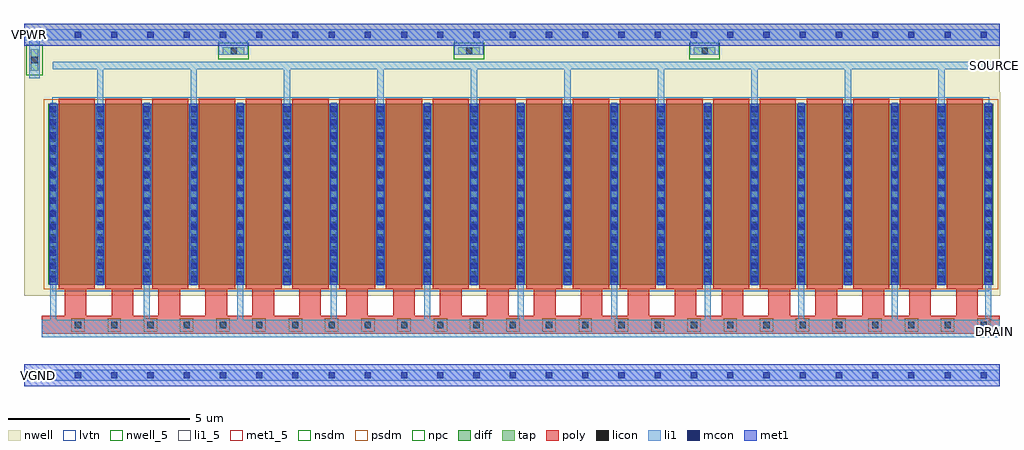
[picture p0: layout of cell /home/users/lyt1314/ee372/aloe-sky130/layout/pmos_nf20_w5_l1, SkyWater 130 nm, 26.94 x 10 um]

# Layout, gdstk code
import gdstk
lib = gdstk.Library(unit=1e-6, precision=1e-09)
def R(c, l, rs):  # rectangles x0, y0, x1, y1
    for r in rs: c.add(gdstk.rectangle(r[:2], r[2:], *l))
def A(c, l, x, y, w, h, nx, ny, dx, dy):  # array of equal rectangles
    R(c, l, [(x+i*dx, y+j*dy, x+i*dx+w, y+j*dy+h) for i in range(nx) for j in range(ny)])
nwell_5 = (64, 5)
nwell = (64, 20)
diff = (65, 20)
tap = (65, 44)
poly = (66, 20)
licon = (66, 44)
li1_5 = (67, 5)
li1 = (67, 20)
mcon = (67, 44)
met1_5 = (68, 5)
met1 = (68, 20)
nsdm = (93, 44)
psdm = (94, 20)
npc = (95, 20)
lvtn = (125, 44)

sky130_fd_pr__pfet_01v8_ = lib.new_cell('sky130_fd_pr__pfet_01v8_lvt_W76TCA')
R(sky130_fd_pr__pfet_01v8_, nwell, [(-13.225,-2.81,13.225,2.81)])
R(sky130_fd_pr__pfet_01v8_, diff, [(-13.045,-2.5,13.045,2.5)])
A(sky130_fd_pr__pfet_01v8_, poly, -12.755, -2.63, 1, 5.26, 20, 1, 1.29, 0)
A(sky130_fd_pr__pfet_01v8_, licon, -12.985, -2.295, 0.17, 0.17, 21, 14, 1.29, 0.34)
A(sky130_fd_pr__pfet_01v8_, li1, -12.985, -2.52, 0.17, 5.04, 21, 1, 1.29, 0)
A(sky130_fd_pr__pfet_01v8_, mcon, -12.985, -2.425, 0.17, 0.17, 21, 14, 1.29, 0.36)
A(sky130_fd_pr__pfet_01v8_, met1, -13.015, -2.5, 0.23, 5, 21, 1, 1.29, 0)
R(sky130_fd_pr__pfet_01v8_, psdm, [(-13.17,-2.625,13.17,2.625)])
R(sky130_fd_pr__pfet_01v8_, lvtn, [(-12.935,-2.68,12.935,2.68)])

c__home_users_lyt1314_ee37 = lib.new_cell('/home/users/lyt1314/ee372/aloe-sky130/layout/pmos_nf20_w5_l1')
R(c__home_users_lyt1314_ee37, nwell_5, [(-13.71,4.25,-13.41,4.55)])
R(c__home_users_lyt1314_ee37, nwell, [(-13.71,-2.81,13.22,4.7)])
A(c__home_users_lyt1314_ee37, tap, -8.23, 3.85, 0.6, 0.2, 3, 1, 6.5, 0)
R(c__home_users_lyt1314_ee37, tap, [(-13.52,3.4,-13.32,4)])
A(c__home_users_lyt1314_ee37, poly, -12.59, -3.36, 0.6, 0.85, 20, 1, 1.295, 0)
R(c__home_users_lyt1314_ee37, poly, [(-13.22,-3.86,13.22,-3.36)])
A(c__home_users_lyt1314_ee37, licon, -12.305, -3.695, 0.17, 0.17, 26, 1, 1, 0)
A(c__home_users_lyt1314_ee37, licon, -8.005, 3.865, 0.17, 0.17, 3, 1, 6.5, 0)
R(c__home_users_lyt1314_ee37, licon, [(-13.505,3.615,-13.335,3.785)])
R(c__home_users_lyt1314_ee37, li1_5, [(12.92,-3.95,13.22,-3.65), (12.92,-3.76,13.22,-3.46), (12.92,3.45,13.22,3.65)])
A(c__home_users_lyt1314_ee37, li1, -12.985, -3.46, 0.17, 1.05, 11, 1, 2.58, 0)
A(c__home_users_lyt1314_ee37, li1, -11.695, 2.41, 0.17, 1.04, 10, 1, 2.58, 0)
A(c__home_users_lyt1314_ee37, li1, -8.33, 3.85, 0.8, 0.4, 3, 1, 6.5, 0)
R(c__home_users_lyt1314_ee37, li1, [(-13.71,-5.15,13.22,-4.85), (-13.22,-3.95,13.22,-3.46), (-13.57,3.2,-13.27,4.25), (-12.92,3.45,13.22,3.65), (-13.71,4.25,13.22,4.55)])
A(c__home_users_lyt1314_ee37, mcon, -12.305, -5.085, 0.17, 0.17, 26, 2, 1, 9.4)
R(c__home_users_lyt1314_ee37, met1_5, [(-13.71,-5.15,-12.92,-4.85)])
R(c__home_users_lyt1314_ee37, met1, [(-13.71,-5.3,13.22,-4.7), (-13.71,4.1,13.22,4.7)])
A(c__home_users_lyt1314_ee37, nsdm, -8.355, 3.725, 0.85, 0.45, 3, 1, 6.5, 0)
R(c__home_users_lyt1314_ee37, nsdm, [(-13.645,3.275,-13.195,4.125)])
A(c__home_users_lyt1314_ee37, npc, -12.405, -3.795, 0.37, 0.37, 26, 1, 1, 0)
c__home_users_lyt1314_ee37.add(gdstk.Reference(sky130_fd_pr__pfet_01v8_, (0,0)))
c__home_users_lyt1314_ee37.add(gdstk.Label('VPWR', (-13.56,4.4), layer=64, texttype=5))
c__home_users_lyt1314_ee37.add(gdstk.Label('VGND', (-13.315,-5), layer=68, texttype=5))
c__home_users_lyt1314_ee37.add(gdstk.Label('SOURCE', (13.07,3.55), layer=67, texttype=5))
c__home_users_lyt1314_ee37.add(gdstk.Label('DRAIN', (13.07,-3.8), layer=67, texttype=5))
c__home_users_lyt1314_ee37.add(gdstk.Label('GATE', (13.07,-3.61), layer=67, texttype=5))

lib.write_gds('_home_users_lyt1314_ee372_aloe-sky130_layout_pmos_nf20_w5_l1.gds')
